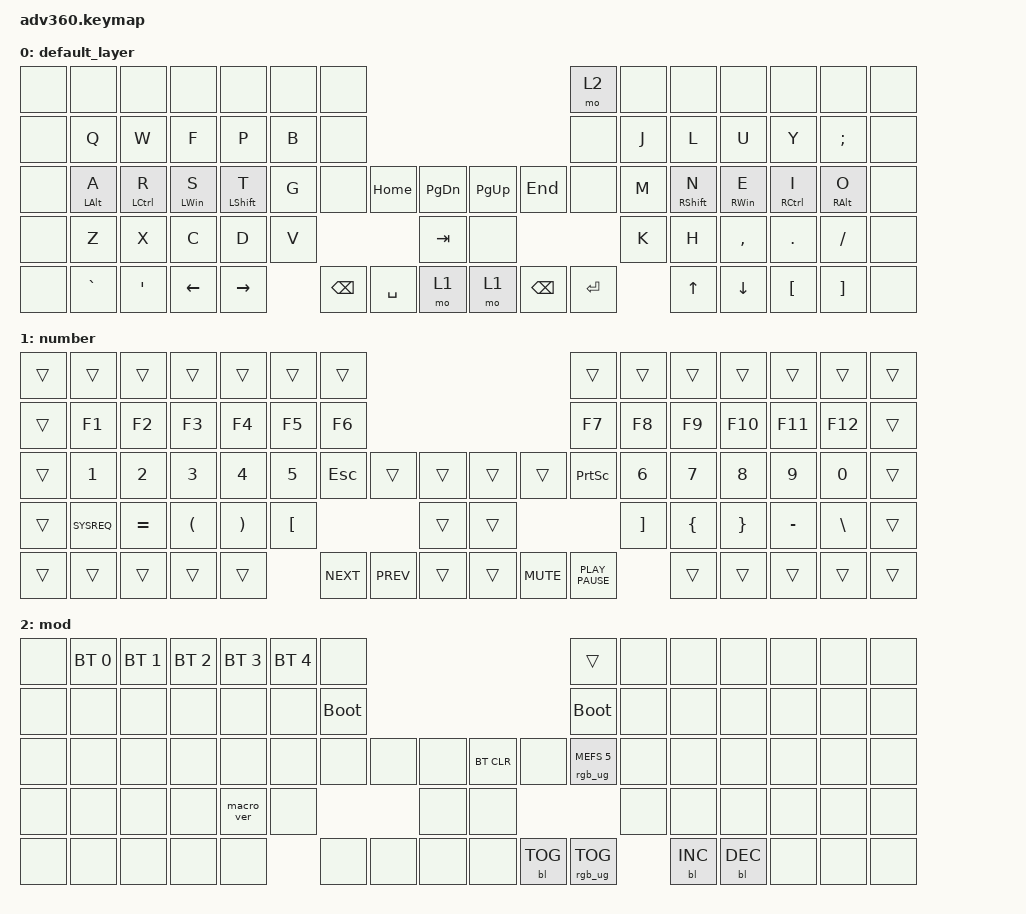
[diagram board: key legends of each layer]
#include <behaviors.dtsi>
#include <dt-bindings/zmk/backlight.h>
#include <dt-bindings/zmk/bt.h>
#include <dt-bindings/zmk/keys.h>
#include <dt-bindings/zmk/rgb.h>

/ {
    behaviors {
        #include "macros.dtsi"
      #include "version.dtsi"
      #ifndef VERSION_MACRO

        macro_ver: macro_ver {
            compatible = "zmk,behavior-macro";
            label = "macro_version";
            #binding-cells = <0>;
            bindings = <&kp RET>;
        };

        #endif

        hm: homerow_mods {
            compatible = "zmk,behavior-hold-tap";
            label = "HOMEROW_MODS";
            #binding-cells = <2>;
            tapping-term-ms = <200>;
            quick_tap_ms = <175>;
            flavor = "tap-preferred";
            bindings = <&kp>, <&kp>;
        };

        hm_l: hm_l {
            compatible = "zmk,behavior-hold-tap";
            label = "HM_L";
            bindings = <&kp>, <&kp>;

            #binding-cells = <2>;
            tapping-term-ms = <280>;
            quick-tap-ms = <175>;
            flavor = "balanced";
            hold-trigger-on-release;
            hold-trigger-key-positions = <7 8 9 10 11 12 13 21 22 23 24 25 26 27 38 39 40 41 42 43 44 45 54 55 56 57 58 59 69 70 71 72 73 74 75 35 36 37 52 53 65 66 67 68>;
            require-prior-idle-ms = <150>;
        };

        hm_r: hm_r {
            compatible = "zmk,behavior-hold-tap";
            label = "HM_R";
            bindings = <&kp>, <&kp>;

            #binding-cells = <2>;
            tapping-term-ms = <280>;
            quick-tap-ms = <175>;
            flavor = "balanced";
            hold-trigger-on-release;
            hold-trigger-key-positions = <38 69 70 35 36 37 52 53 65 66 67 68 0 1 2 3 4 5 6 14 15 16 17 18 19 20 28 29 30 31 32 33 34 35 46 47 48 49 50 51 60 61 62 63 64>;
            require-prior-idle-ms = <150>;
        };
    };

    macros {
    };

    keymap {
        compatible = "zmk,keymap";

        default_layer {
            bindings = <
&none  &none         &none           &none         &none          &none  &none                                                         &mo 2      &none  &none          &none         &none          &none         &none
&none  &kp Q         &kp W           &kp F         &kp P          &kp B  &none                                                         &none      &kp J  &kp L          &kp U         &kp Y          &kp SEMI      &none
&none  &hm_l LALT A  &hm_l LCTRL R   &hm_l LWIN S  &hm_l LSHFT T  &kp G  &none     &kp HOME   &kp PG_DN      &kp PG_UP  &kp END        &none      &kp M  &hm_r RSHFT N  &hm_r RWIN E  &hm_r RCTRL I  &hm_r RALT O  &none
&none  &kp Z         &kp X           &kp C         &kp D          &kp V                       &kp TAB        &none                                &kp K  &kp H          &kp COMMA     &kp DOT        &kp FSLH      &none
&none  &kp GRAVE     &kp APOSTROPHE  &kp LEFT      &kp RIGHT             &kp BSPC  &kp SPACE  &mo 1          &mo 1      &kp BACKSPACE  &kp ENTER         &kp UP         &kp DOWN      &kp LBKT       &kp RBKT      &none
            >;
        };

        number {
            bindings = <
&trans  &trans      &trans     &trans                &trans                 &trans            &trans                                                  &trans            &trans             &trans          &trans           &trans     &trans         &trans
&trans  &kp F1      &kp F2     &kp F3                &kp F4                 &kp F5            &kp F6                                                  &kp F7            &kp F8             &kp F9          &kp F10          &kp F11    &kp F12        &trans
&trans  &kp N1      &kp N2     &kp N3                &kp N4                 &kp N5            &kp ESC     &trans      &trans      &trans  &trans      &kp PRINTSCREEN   &kp N6             &kp N7          &kp N8           &kp N9     &kp N0         &trans
&trans  &kp SYSREQ  &kp EQUAL  &kp LEFT_PARENTHESIS  &kp RIGHT_PARENTHESIS  &kp LEFT_BRACKET                          &trans      &trans                                &kp RIGHT_BRACKET  &kp LEFT_BRACE  &kp RIGHT_BRACE  &kp MINUS  &kp BACKSLASH  &trans
&trans  &trans      &trans     &trans                &trans                                   &kp K_NEXT  &kp K_PREV  &trans      &trans  &kp K_MUTE  &kp K_PLAY_PAUSE                     &trans          &trans           &trans     &trans         &trans
            >;
        };

        mod {
            bindings = <
&none  &bt BT_SEL 0  &bt BT_SEL 1  &bt BT_SEL 2  &bt BT_SEL 3  &bt BT_SEL 4  &none                                                  &trans                  &none  &none       &none       &none  &none  &none
&none  &none         &none         &none         &none         &none         &bootloader                                            &bootloader             &none  &none       &none       &none  &none  &none
&none  &none         &none         &none         &none         &none         &none        &none  &none      &bt BT_CLR  &none       &rgb_ug RGB_MEFS_CMD 5  &none  &none       &none       &none  &none  &none
&none  &none         &none         &none         &macro_ver    &none                             &none      &none                                           &none  &none       &none       &none  &none  &none
&none  &none         &none         &none         &none                       &none        &none  &none      &none       &bl BL_TOG  &rgb_ug RGB_TOG                &bl BL_INC  &bl BL_DEC  &none  &none  &none
            >;
        };
    };
};
